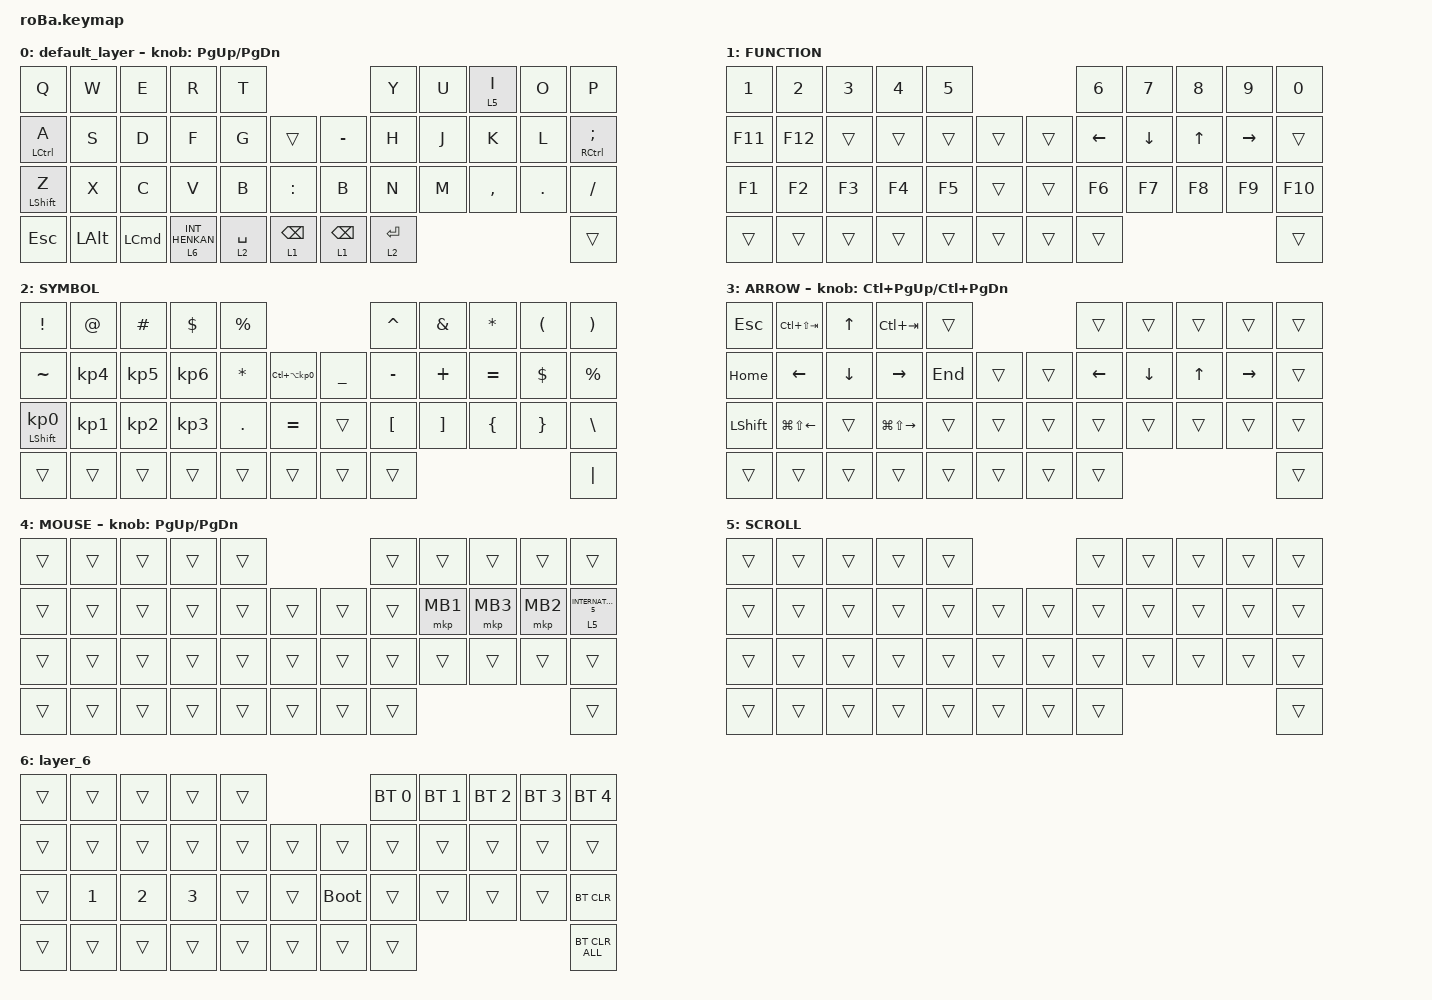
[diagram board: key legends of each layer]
#include <behaviors.dtsi>
#include <dt-bindings/zmk/bt.h>
#include <dt-bindings/zmk/keys.h>
#include <dt-bindings/zmk/pointing.h>

#define MOUSE 4
#define SCROLL 5
#define NUM 6

&mt {
    flavor = "balanced";
    quick-tap-ms = <0>;
};

/ {
    combos {
        compatible = "zmk,combos";

        tab {
            bindings = <&kp TAB>;
            key-positions = <11 10>;
        };

        double_quotation {
            bindings = <&kp DOUBLE_QUOTES>;
            key-positions = <20 21>;
        };

        eq {
            bindings = <&kp EQUAL>;
            key-positions = <24 25>;
        };
    };

    macros {
        to_layer_0: to_layer_0 {
            compatible = "zmk,behavior-macro-one-param";
            #binding-cells = <1>;
            bindings = <&to 0 &macro_param_1to1 &kp MACRO_PLACEHOLDER>;
            label = "TO_LAYER_0";
        };
    };

    behaviors {
        lt_to_layer_0: lt_to_layer_0 {
            compatible = "zmk,behavior-hold-tap";
            label = "LAYER_TAP_TO_0";
            bindings = <&mo>, <&to_layer_0>;

            #binding-cells = <2>;
            tapping-term-ms = <200>;
        };
    };

    keymap {
        compatible = "zmk,keymap";

        default_layer {
            bindings = <
&kp Q               &kp W         &kp E             &kp R                        &kp T                                              &kp Y        &kp U  &lt 5 I    &kp O    &kp P
&mt LEFT_CONTROL A  &kp S         &kp D             &kp F                        &kp G        &trans               &kp MINUS        &kp H        &kp J  &kp K      &kp L    &mt RIGHT_CONTROL SEMI
&mt LEFT_SHIFT Z    &kp X         &kp C             &kp V                        &kp B        &kp COLON            &kp B            &kp N        &kp M  &kp COMMA  &kp DOT  &kp SLASH
&kp ESCAPE          &kp LEFT_ALT  &kp LEFT_COMMAND  &lt_to_layer_0 6 INT_HENKAN  &lt 2 SPACE  &lt 1 BACKSPACE      &lt 1 BACKSPACE  &lt 2 ENTER                             &trans
            >;

            sensor-bindings = <&inc_dec_kp PG_UP PAGE_DOWN>;
        };

        FUNCTION {
            bindings = <
&kp NUMBER_1  &kp NUMBER_2  &kp NUMBER_3  &kp NUMBER_4  &kp N5                      &kp NUMBER_6    &kp N7          &kp N8        &kp N9           &kp N0
&kp F11       &kp F12       &trans        &trans        &trans  &trans      &trans  &kp LEFT_ARROW  &kp DOWN_ARROW  &kp UP_ARROW  &kp RIGHT_ARROW  &trans
&kp F1        &kp F2        &kp F3        &kp F4        &kp F5  &trans      &trans  &kp F6          &kp F7          &kp F8        &kp F9           &kp F10
&trans        &trans        &trans        &trans        &trans  &trans      &trans  &trans                                                         &trans
            >;
        };

        SYMBOL {
            bindings = <
&kp EXCLAMATION             &kp AT           &kp HASH         &kp DOLLAR       &kp PERCENT                                                &kp CARET         &kp AMPERSAND      &kp ASTRK       &kp LEFT_PARENTHESIS  &kp RIGHT_PARENTHESIS
&kp TILDE                   &kp KP_NUMBER_4  &kp KP_NUMBER_5  &kp KP_NUMBER_6  &kp ASTERISK  &kp LC(LA(KP_NUMBER_0))      &kp UNDERSCORE  &kp MINUS         &kp PLUS           &kp EQUAL       &kp DOLLAR            &kp PERCENT
&mt LEFT_SHIFT KP_NUMBER_0  &kp KP_NUMBER_1  &kp KP_NUMBER_2  &kp KP_NUMBER_3  &kp PERIOD    &kp EQUAL                    &trans          &kp LEFT_BRACKET  &kp RIGHT_BRACKET  &kp LEFT_BRACE  &kp RIGHT_BRACE       &kp BACKSLASH
&trans                      &trans           &trans           &trans           &trans        &trans                       &trans          &trans                                                                     &kp PIPE
            >;
        };

        ARROW {
            bindings = <
&kp ESCAPE      &kp LC(LS(TAB))         &kp UP_ARROW    &kp LC(TAB)              &trans                       &trans          &trans          &trans        &trans     &trans
&kp HOME        &kp LEFT_ARROW          &kp DOWN_ARROW  &kp RIGHT_ARROW          &kp END  &trans      &trans  &kp LEFT_ARROW  &kp DOWN_ARROW  &kp UP_ARROW  &kp RIGHT  &trans
&kp LEFT_SHIFT  &kp LG(LS(LEFT_ARROW))  &trans          &kp LG(LS(RIGHT_ARROW))  &trans   &trans      &trans  &trans          &trans          &trans        &trans     &trans
&trans          &trans                  &trans          &trans                   &trans   &trans      &trans  &trans                                                   &trans
            >;

            sensor-bindings = <&inc_dec_kp LC(PAGE_UP) LC(PAGE_DOWN)>;
        };

        MOUSE {
            bindings = <
&trans  &trans  &trans  &trans  &trans                      &trans  &trans    &trans    &trans    &trans
&trans  &trans  &trans  &trans  &trans  &trans      &trans  &trans  &mkp MB1  &mkp MB3  &mkp MB2  &lt 5 INTERNATIONAL_5
&trans  &trans  &trans  &trans  &trans  &trans      &trans  &trans  &trans    &trans    &trans    &trans
&trans  &trans  &trans  &trans  &trans  &trans      &trans  &trans                                &trans
            >;

            sensor-bindings = <&inc_dec_kp PAGE_UP PAGE_DOWN>;
        };

        SCROLL {
            bindings = <
&trans  &trans  &trans  &trans  &trans                      &trans  &trans  &trans  &trans  &trans
&trans  &trans  &trans  &trans  &trans  &trans      &trans  &trans  &trans  &trans  &trans  &trans
&trans  &trans  &trans  &trans  &trans  &trans      &trans  &trans  &trans  &trans  &trans  &trans
&trans  &trans  &trans  &trans  &trans  &trans      &trans  &trans                          &trans
            >;
        };

        layer_6 {
            bindings = <
&trans  &trans        &trans        &trans        &trans                           &bt BT_SEL 0  &bt BT_SEL 1  &bt BT_SEL 2  &bt BT_SEL 3  &bt BT_SEL 4
&trans  &trans        &trans        &trans        &trans  &trans      &trans       &trans        &trans        &trans        &trans        &trans
&trans  &kp NUMBER_1  &kp NUMBER_2  &kp NUMBER_3  &trans  &trans      &bootloader  &trans        &trans        &trans        &trans        &bt BT_CLR
&trans  &trans        &trans        &trans        &trans  &trans      &trans       &trans                                                  &bt BT_CLR_ALL
            >;
        };
    };
};
